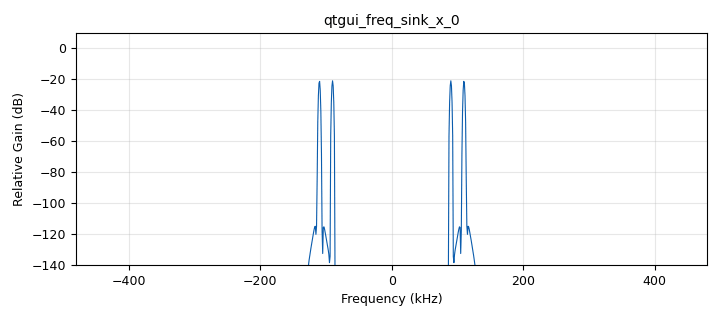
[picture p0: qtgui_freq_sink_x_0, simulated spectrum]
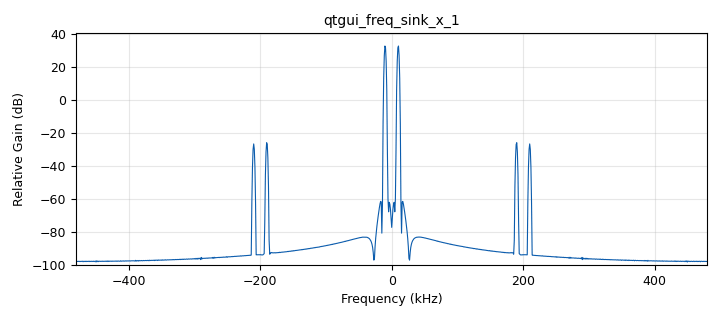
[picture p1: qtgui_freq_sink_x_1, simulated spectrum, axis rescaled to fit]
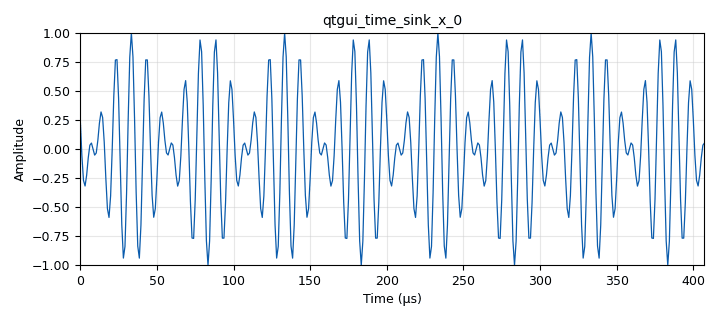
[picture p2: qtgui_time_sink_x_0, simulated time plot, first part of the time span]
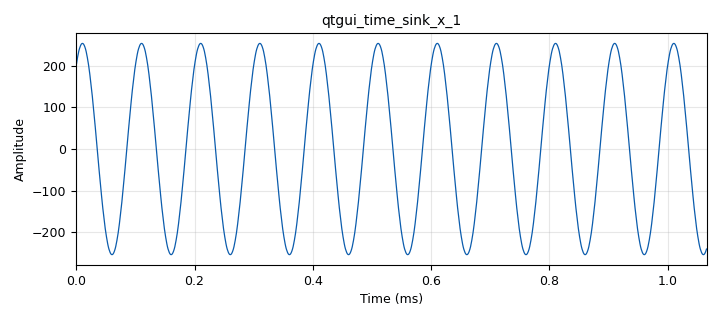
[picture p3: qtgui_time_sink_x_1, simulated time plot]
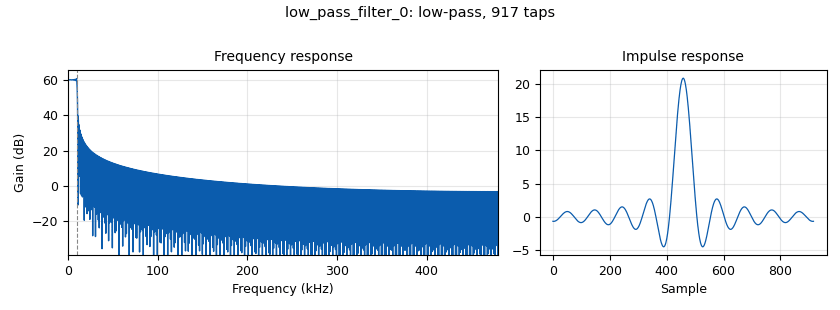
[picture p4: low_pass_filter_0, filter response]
options:
  parameters:
    generate_options: qt_gui
    id: lab2b
    output_language: python
    title: lab2b
  states: {}

blocks:
- name: samp_rate
  id: variable
  parameters:
    value: '960000'
  states: {}
- name: analog_sig_source_x_0
  id: analog_sig_source_x
  parameters:
    amp: '1'
    freq: '10000'
    offset: '0'
    phase: '0'
    samp_rate: samp_rate
    type: float
    waveform: analog.GR_COS_WAVE
  states: {}
- name: analog_sig_source_x_1
  id: analog_sig_source_x
  parameters:
    amp: '1'
    freq: '100000'
    offset: '0'
    phase: '0'
    samp_rate: samp_rate
    type: float
    waveform: analog.GR_COS_WAVE
  states: {}
- name: blocks_multiply_xx_0
  id: blocks_multiply_xx
  parameters:
    type: float
  states: {}
- name: blocks_multiply_xx_0_0
  id: blocks_multiply_xx
  parameters:
    type: float
  states: {}
- name: blocks_throttle_0
  id: blocks_throttle
  parameters:
    samples_per_second: samp_rate
    type: float
  states: {}
- name: blocks_throttle_1
  id: blocks_throttle
  parameters:
    samples_per_second: samp_rate
    type: float
  states: {}
- name: low_pass_filter_0
  id: low_pass_filter
  parameters:
    cutoff_freq: '10000'
    gain: '1000'
    interp: '1'
    samp_rate: samp_rate
    type: interp_fir_filter_fff
    width: '1000'
    win: window.WIN_RECTANGULAR
  states: {}
- name: qtgui_freq_sink_x_0
  id: qtgui_freq_sink_x
  parameters:
    bw: samp_rate
    fc: '0'
    fftsize: '1024'
    type: float
  states: {}
- name: qtgui_freq_sink_x_1
  id: qtgui_freq_sink_x
  parameters:
    bw: samp_rate
    fc: '0'
    fftsize: '1024'
    type: float
  states: {}
- name: qtgui_time_sink_x_0
  id: qtgui_time_sink_x
  parameters:
    size: '1024'
    srate: samp_rate
    type: float
  states: {}
- name: qtgui_time_sink_x_1
  id: qtgui_time_sink_x
  parameters:
    autoscale: 'True'
    size: '1024'
    srate: samp_rate
    type: float
  states: {}

connections:
- [analog_sig_source_x_0, '0', blocks_multiply_xx_0, '0']
- [analog_sig_source_x_1, '0', blocks_multiply_xx_0, '1']
- [analog_sig_source_x_1, '0', blocks_multiply_xx_0_0, '1']
- [blocks_multiply_xx_0, '0', blocks_multiply_xx_0_0, '0']
- [blocks_multiply_xx_0, '0', blocks_throttle_0, '0']
- [blocks_multiply_xx_0_0, '0', low_pass_filter_0, '0']
- [blocks_throttle_0, '0', qtgui_freq_sink_x_0, '0']
- [blocks_throttle_0, '0', qtgui_time_sink_x_0, '0']
- [blocks_throttle_1, '0', qtgui_freq_sink_x_1, '0']
- [blocks_throttle_1, '0', qtgui_time_sink_x_1, '0']
- [low_pass_filter_0, '0', blocks_throttle_1, '0']

metadata:
  file_format: 1
